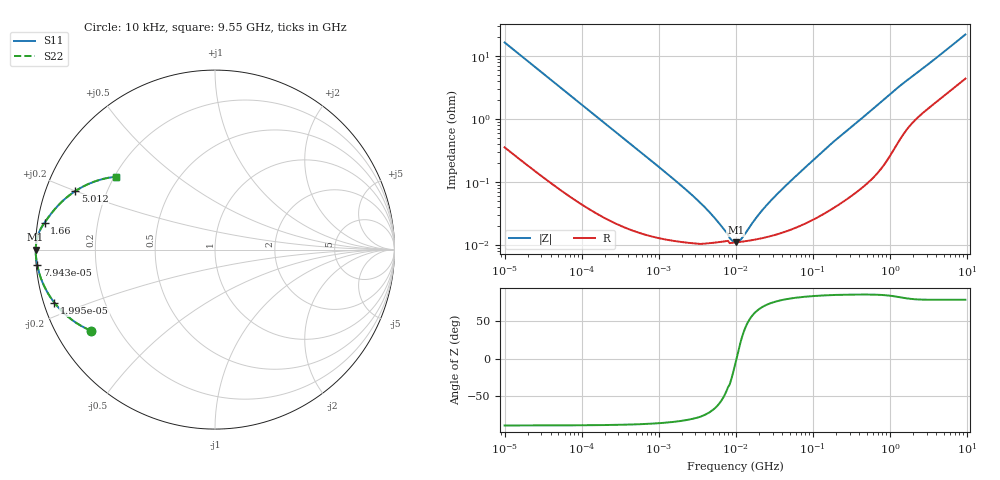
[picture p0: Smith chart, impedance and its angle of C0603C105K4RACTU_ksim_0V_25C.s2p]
! C0603C105K4RAC
! Temp = 25?C, Bias = 0VDC, Shunt
! KEMET S2P Model
# HZ S DB R 50
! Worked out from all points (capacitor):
!   300 points, 10 kHz to 9.55 GHz, reference 50 ohm
!   read as one part in shunt: C = 960 nF near 10.47 kHz
!   lowest |Z| = 11 mohm at 10 MHz (marker M1)
!   series resonance near 10.23 MHz, so ESL is about 250 pH
!   S11 on the Smith chart (normalised r, x): 10 kHz: 0.10, -0.29; 19.95 kHz: 0.03, -0.16; 79.43 kHz: 0.00, -0.04; 1.66 GHz: 0.02, +0.08; 5.012 GHz: 0.09, +0.20; 9.55 GHz: 0.21, +0.32
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10000  -1.66 -146.9  -5.26 -55.7  -5.26 -55.7  -1.66 -146.9
13803.84  -0.98 -154.6  -7.34 -63.3  -7.34 -63.3  -0.98 -154.6
19952.63  -0.52 -161.6  -10.03 -70.4  -10.03 -70.4  -0.52 -161.6
39810.71  -0.15 -170.4  -15.59 -79.1  -15.59 -79.1  -0.15 -170.4
79432.84  -0.05 -175.1  -21.40 -83.7  -21.40 -83.7  -0.05 -175.1
100000  -0.04 -176.1  -23.36 -84.6  -23.36 -84.6  -0.04 -176.1
1000000  -0.00 -179.6  -43.11 -85.4  -43.11 -85.4  -0.00 -179.6
3630780  -0.00 -179.9  -55.03 -76.3  -55.03 -76.3  -0.00 -179.9
5754402  -0.00 -180.0  -60.34 -62.6  -60.34 -62.6  -0.00 -180.0
8709637  -0.00 -180.0  -66.24 -27.9  -66.24 -27.9  -0.00 -180.0
1e7  -0.00 -180.0  -67.13 -4.2  -67.13 -4.2  -0.00 -180.0
1.096478e7  -0.00 180.0  -66.80 13.2  -66.80 13.2  -0.00 180.0
1.202264e7  -0.00 180.0  -65.78 28.5  -65.78 28.5  -0.00 180.0
1.905462e7  -0.00 179.9  -58.82 64.3  -58.82 64.3  -0.00 179.9
2.884032e7  -0.00 179.9  -53.73 74.2  -53.73 74.2  -0.00 179.9
1e8  -0.01 179.5  -41.12 83.0  -41.12 83.0  -0.01 179.5
3.981075e8  -0.03 177.8  -28.46 83.3  -28.46 83.3  -0.03 177.8
1e9  -0.13 174.4  -20.20 78.4  -20.20 78.4  -0.13 174.4
1.659588e9  -0.34 171.0  -16.01 71.5  -16.01 71.5  -0.34 171.0
3.019948e9  -0.78 165.1  -11.62 63.7  -11.62 63.7  -0.78 165.1
5.01187e9  -1.48 157.2  -8.08 55.8  -8.08 55.8  -1.48 157.2
9.549916e9  -3.29 143.6  -4.36 42.1  -4.36 42.1  -3.29 143.6
